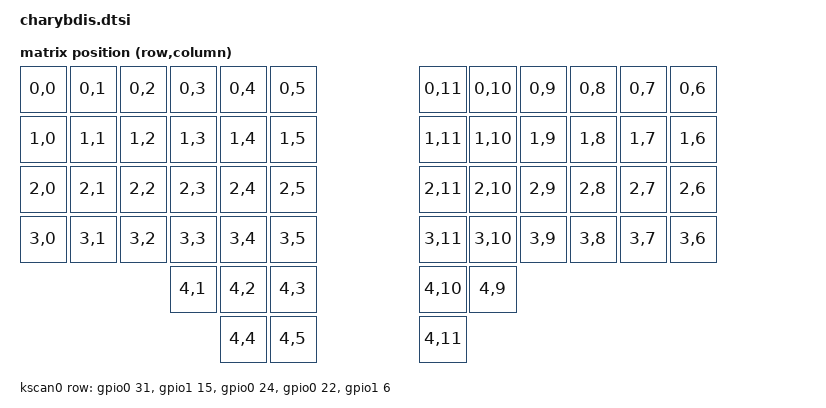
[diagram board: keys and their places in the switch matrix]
#include <dt-bindings/zmk/matrix_transform.h>
#include <dt-bindings/led/led.h>

/ {
    chosen {
        zmk,kscan = &kscan0;
        zmk,matrix_transform = &default_transform;
    };

    default_transform: keymap_transform_0 {
		compatible = "zmk,matrix-transform";
        columns = <12>;
        rows = <5>;

        map = <
			RC(0,0) RC(0,1) RC(0,2) RC(0,3) RC(0,4) RC(0,5)                   RC(0,11) RC(0,10) RC(0,9) RC(0,8) RC(0,7) RC(0,6)
			RC(1,0) RC(1,1) RC(1,2) RC(1,3) RC(1,4) RC(1,5)                   RC(1,11) RC(1,10) RC(1,9) RC(1,8) RC(1,7) RC(1,6)
			RC(2,0) RC(2,1) RC(2,2) RC(2,3) RC(2,4) RC(2,5)                   RC(2,11) RC(2,10) RC(2,9) RC(2,8) RC(2,7) RC(2,6)
			RC(3,0) RC(3,1) RC(3,2) RC(3,3) RC(3,4) RC(3,5)                   RC(3,11) RC(3,10) RC(3,9) RC(3,8) RC(3,7) RC(3,6)
					                RC(4,1) RC(4,2) RC(4,3)                   RC(4,10)  RC(4,9)
									        RC(4,4) RC(4,5)                   RC(4,11) 
        >;
    };
	
    kscan0: kscan {
        compatible = "zmk,kscan-gpio-matrix";
        label = "KSCAN";

        diode-direction = "row2col";
		row-gpios
            = <&gpio0 31 GPIO_ACTIVE_HIGH>
            , <&gpio1 15 GPIO_ACTIVE_HIGH>
            , <&gpio0 24 GPIO_ACTIVE_HIGH>
	        , <&gpio0 22 GPIO_ACTIVE_HIGH>
	        , <&gpio1 6 GPIO_ACTIVE_HIGH>
            ;
    };

	trackballs {
		compatible = "zmk,keymap-trackballs";
		trackballs = <&trackball>;
	};
};

&spi0 {
	compatible = "nordic,nrf-spim";
	status = "disabled";

	trackball: trackball@0 {
		compatible = "pixart,pmw3610";
		status = "disabled";
		reg = <0>;
		label = "TRACKBALL";
		spi-max-frequency = <2000000>;
		duplex = <2048>; // required by 3-wire spi
	};
};

/ {

  /* trackball move */
	behaviors {
		/omit-if-no-ref/ tmv: behavior_trackball_move {
			compatible = "zmk,behavior-point-device-incremental";
			label = "TRACKBALL_MOVE";
			#trackball-binding-cells = <0>;
      mode = "move-mode";
      flavor = "default";
      scale_mode = "dividor";
      scale_factor = <2>;
		};
	};

	behaviors {
		/omit-if-no-ref/ tmv_fine: behavior_trackball_move_fine {
			compatible = "zmk,behavior-point-device-incremental";
			label = "TRACKBALL_MOVE_FINE";
			#trackball-binding-cells = <0>;
      mode = "move-mode";
      flavor = "default";
      scale_mode = "dividor";
      scale_factor = <4>;
		};
	};

	behaviors {
		/omit-if-no-ref/ tmv_coarse: behavior_trackball_move_coarse {
			compatible = "zmk,behavior-point-device-incremental";
			label = "TRACKBALL_MOVE_COARSE";
			#trackball-binding-cells = <0>;
      mode = "move-mode";
      flavor = "default";
      scale_mode = "dividor";
      scale_factor = <1>;
		};
	};

	behaviors {
		/omit-if-no-ref/ tmv_x: behavior_trackball_move_x_only {
			compatible = "zmk,behavior-point-device-incremental";
			label = "TRACKBALL_MOVE_X_ONLY";
			#trackball-binding-cells = <0>;
      mode = "move-mode";
      flavor = "x-only";
      scale_mode = "dividor";
      scale_factor = <2>;
		};
	};

	behaviors {
		/omit-if-no-ref/ tmv_y: behavior_trackball_move_y_only {
			compatible = "zmk,behavior-point-device-incremental";
			label = "TRACKBALL_MOVE_Y_ONLY";
			#trackball-binding-cells = <0>;
      mode = "move-mode";
      flavor = "y-only";
      scale_mode = "dividor";
      scale_factor = <2>;
		};
	};

  /* trackball scroll */
	behaviors {
		/omit-if-no-ref/ tsl: behavior_trackball_scroll {
			compatible = "zmk,behavior-point-device-incremental";
			label = "TRACKBALL_SCROLL";
			#trackball-binding-cells = <0>;
      mode = "scroll-mode";
      flavor = "default";
      scale_mode = "dividor";
      scale_factor = <10>;
		};
	};

	behaviors {
		/omit-if-no-ref/ tsl_fine: behavior_trackball_scroll_fine {
			compatible = "zmk,behavior-point-device-incremental";
			label = "TRACKBALL_SCROLL_FINE";
			#trackball-binding-cells = <0>;
      mode = "scroll-mode";
      flavor = "default";
      scale_mode = "dividor";
      scale_factor = <1>;
		};
	};

  /* trackball key press */
	behaviors {
		/omit-if-no-ref/ tkp: behavior_trackball_key_press {
			compatible = "zmk,behavior-point-device-directional";
			label = "TRACKBALL_KEY_PRESS";
			#trackball-binding-cells = <4>;
      mode = "distance-mode";
      flavor = "2-dim";
      step_size = <250>;
		};
	};

	behaviors {
		/omit-if-no-ref/ tkp_fast: behavior_trackball_key_press {
			compatible = "zmk,behavior-point-device-directional";
			label = "TRACKBALL_KEY_PRESS";
			#trackball-binding-cells = <4>;
      mode = "distance-mode";
      flavor = "2-dim";
      step_size = <100>;
		};
	};

	behaviors {
		/omit-if-no-ref/ tkp_dt: behavior_trackball_key_press2 {
			compatible = "zmk,behavior-point-device-directional";
			label = "TRACKBALL_KEY_PRESS_2";
			#trackball-binding-cells = <4>;
      mode = "time-mode";
      flavor = "2-dim";
      step_size = <200>;
		};
	};
};
